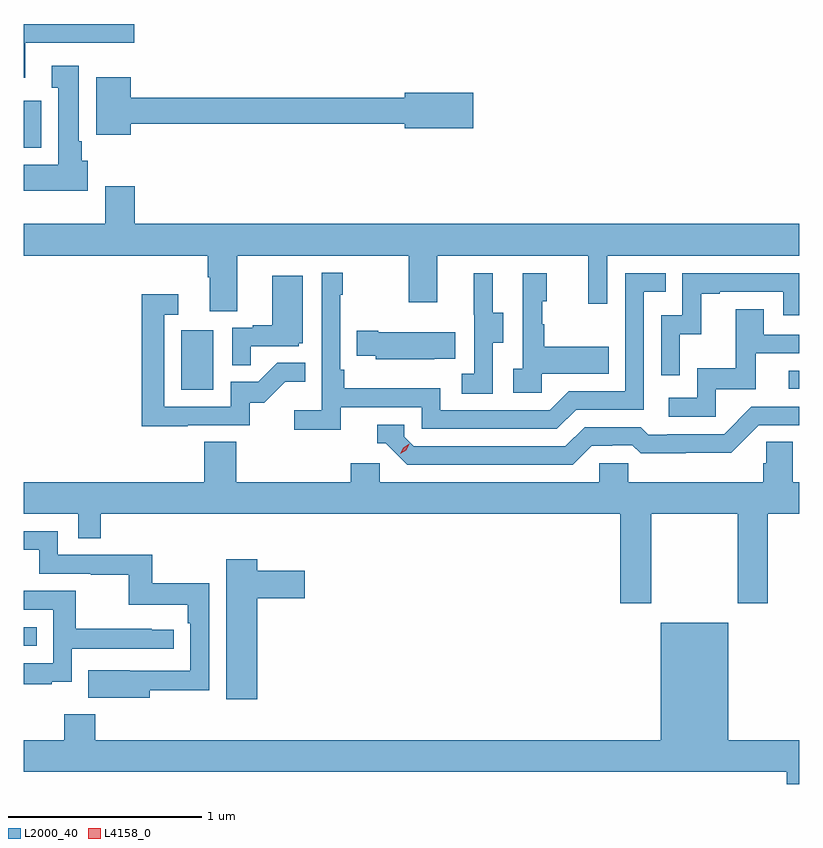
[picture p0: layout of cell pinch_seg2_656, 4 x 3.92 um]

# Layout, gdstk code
import gdstk
lib = gdstk.Library(unit=1e-6, precision=1e-09)
def R(c, l, rs):  # rectangles x0, y0, x1, y1
    for r in rs: c.add(gdstk.rectangle(r[:2], r[2:], *l))
def P(c, l, *ps):  # polygons
    for p in ps: c.add(gdstk.Polygon(p, *l))
L2000_40 = (2000, 40)
L4158_0 = (4158, 0)

pinch_seg2_656 = lib.new_cell('pinch_seg2_656')
R(pinch_seg2_656, L2000_40, [(1035.857,599.004,1035.923,599.1), (1036.67,600.324,1036.834,600.631), (1039.803,600.33,1039.857,600.423), (1035.857,601.574,1035.946,601.816)])
P(pinch_seg2_656, L2000_40, [(1035.865,602.115),(1036.426,602.115),(1036.426,602.212),(1035.857,602.212),(1035.857,601.934),(1035.865,601.934)],
  [(1036.186,601.506),(1036.156,601.506),(1036.156,601.606),(1036.141,601.606),(1036.141,601.996),(1036.001,601.996),(1036.001,601.883),(1036.034,601.883),(1036.034,601.486),(1035.857,601.486),(1035.857,601.352),(1036.186,601.352)],
  [(1036.408,601.696),(1037.822,601.696),(1037.822,601.673),(1038.175,601.673),(1038.175,601.856),(1037.822,601.856),(1037.822,601.832),(1036.408,601.832),(1036.408,601.936),(1036.229,601.936),(1036.229,601.64),(1036.408,601.64)],
  [(1036.957,601.016),(1037.842,601.016),(1037.842,600.777),(1037.989,600.777),(1037.989,601.016),(1038.77,601.016),(1038.77,600.768),(1038.867,600.768),(1038.867,601.016),(1039.857,601.016),(1039.857,601.18),(1036.43,601.18),(1036.43,601.375),(1036.277,601.375),(1036.277,601.18),(1035.857,601.18),(1035.857,601.016),(1036.805,601.016),(1036.805,600.904),(1036.817,600.904),(1036.817,600.73),(1036.957,600.73)],
  [(1037.492,600.234),(1037.91,600.234),(1037.91,600.123),(1038.607,600.123),(1038.706,600.222),(1039.056,600.222),(1039.056,600.831),(1039.169,600.831),(1039.169,600.927),(1038.96,600.927),(1038.96,600.318),(1038.669,600.318),(1038.57,600.219),(1038.006,600.219),(1038.006,600.331),(1037.51,600.331),(1037.51,600.427),(1037.49,600.427),(1037.49,600.815),(1037.503,600.815),(1037.503,600.928),(1037.394,600.928),(1037.394,600.22),(1037.253,600.22),(1037.253,600.118),(1037.492,600.118)],
  [(1039.242,600.611),(1039.352,600.611),(1039.352,600.819),(1039.447,600.819),(1039.447,600.831),(1039.776,600.831),(1039.776,600.708),(1039.857,600.708),(1039.857,600.927),(1039.254,600.927),(1039.254,600.708),(1039.146,600.708),(1039.146,600.399),(1039.242,600.399)],
  [(1038.528,600.407),(1038.875,600.407),(1038.875,600.547),(1038.541,600.547),(1038.541,600.662),(1038.531,600.662),(1038.531,600.78),(1038.556,600.78),(1038.556,600.925),(1038.432,600.925),(1038.432,600.434),(1038.381,600.434),(1038.381,600.309),(1038.528,600.309)],
  [(1038.276,600.568),(1038.331,600.568),(1038.331,600.723),(1038.277,600.723),(1038.277,600.925),(1038.179,600.925),(1038.179,600.711),(1038.18,600.711),(1038.18,600.407),(1038.117,600.407),(1038.117,600.304),(1038.276,600.304)],
  [(1037.027,600.549),(1037.274,600.549),(1037.274,600.564),(1037.296,600.564),(1037.296,600.913),(1037.138,600.913),(1037.138,600.658),(1037.039,600.658),(1037.039,600.645),(1036.932,600.645),(1036.932,600.451),(1037.027,600.451)],
  [(1036.703,600.141),(1037.022,600.141),(1037.022,600.258),(1037.098,600.258),(1037.205,600.365),(1037.309,600.365),(1037.309,600.464),(1037.165,600.464),(1037.067,600.366),(1036.923,600.366),(1036.923,600.237),(1036.581,600.237),(1036.581,600.711),(1036.654,600.711),(1036.654,600.817),(1036.465,600.817),(1036.465,600.136),(1036.703,600.136)],
  [(1039.428,600.327),(1039.633,600.327),(1039.633,600.513),(1039.857,600.513),(1039.857,600.609),(1039.675,600.609),(1039.675,600.739),(1039.531,600.739),(1039.531,600.436),(1039.332,600.436),(1039.332,600.282),(1039.185,600.282),(1039.185,600.186),(1039.428,600.186)],
  [(1037.975,600.485),(1038.083,600.485),(1038.083,600.622),(1037.686,600.622),(1037.686,600.63),(1037.575,600.63),(1037.575,600.5),(1037.673,600.5),(1037.673,600.482),(1037.975,600.482)],
  [(1038.787,600.036),(1038.894,600.036),(1038.894,600.039),(1038.997,600.039),(1039.039,599.997),(1039.272,599.997),(1039.272,599.999),(1039.508,599.999),(1039.65,600.141),(1039.857,600.141),(1039.857,600.237),(1039.611,600.237),(1039.47,600.096),(1039.177,600.096),(1039.177,600.093),(1039.078,600.093),(1039.039,600.132),(1038.75,600.132),(1038.651,600.033),(1037.868,600.033),(1037.82,600.081),(1037.82,600.144),(1037.681,600.144),(1037.681,600.048),(1037.724,600.048),(1037.835,599.937),(1038.688,599.937)],
  [(1039.095,599.684),(1039.54,599.684),(1039.54,599.223),(1039.695,599.223),(1039.695,599.684),(1039.857,599.684),(1039.857,599.848),(1039.824,599.848),(1039.824,600.056),(1039.687,600.056),(1039.687,599.946),(1039.673,599.946),(1039.673,599.848),(1038.975,599.848),(1038.975,599.946),(1038.825,599.946),(1038.825,599.848),(1037.694,599.848),(1037.694,599.946),(1037.543,599.946),(1037.543,599.848),(1036.952,599.848),(1036.952,600.056),(1036.787,600.056),(1036.787,599.848),(1035.857,599.848),(1035.857,599.684),(1036.137,599.684),(1036.137,599.557),(1036.253,599.557),(1036.253,599.684),(1038.935,599.684),(1038.935,599.223),(1039.095,599.223)],
  [(1036.507,598.774),(1036.812,598.774),(1036.812,599.326),(1036.519,599.326),(1036.519,599.472),(1036.032,599.472),(1036.032,599.595),(1035.857,599.595),(1035.857,599.499),(1035.936,599.499),(1035.936,599.376),(1036.201,599.376),(1036.201,599.371),(1036.398,599.371),(1036.398,599.216),(1036.703,599.216),(1036.703,599.12),(1036.716,599.12),(1036.716,598.875),(1036.403,598.875),(1036.403,598.876),(1036.189,598.876),(1036.189,598.736),(1036.507,598.736)],
  [(1037.062,599.249),(1037.305,599.249),(1037.305,599.391),(1037.062,599.391),(1037.062,599.449),(1036.901,599.449),(1036.901,598.728),(1037.062,598.728)],
  [(1036.001,598.817),(1036.104,598.817),(1036.104,598.989),(1036.63,598.989),(1036.63,599.085),(1036.517,599.085),(1036.517,599.09),(1036.124,599.09),(1036.124,599.286),(1035.857,599.286),(1035.857,599.19),(1036.008,599.19),(1036.008,598.914),(1035.857,598.914),(1035.857,598.806),(1036.001,598.806)],
  [(1039.857,598.516),(1039.492,598.516),(1039.492,599.122),(1039.142,599.122),(1039.142,598.516),(1036.226,598.516),(1036.226,598.651),(1036.066,598.651),(1036.066,598.516),(1035.857,598.516),(1035.857,598.352),(1039.793,598.352),(1039.793,598.29),(1039.857,598.29)])
P(pinch_seg2_656, L4158_0, [(1037.798,599.994),(1037.798,599.994),(1037.814,600.026),(1037.845,600.046),(1037.846,600.046),(1037.846,600.045),(1037.829,600.013),(1037.798,599.994)])

lib.write_gds('pinch_seg2_656.gds')
